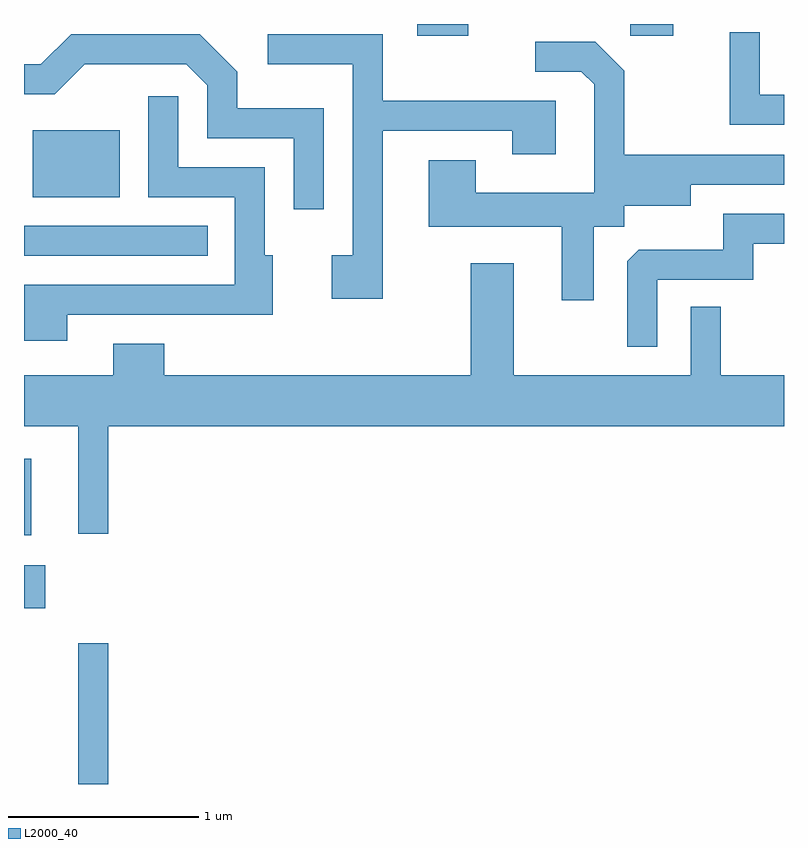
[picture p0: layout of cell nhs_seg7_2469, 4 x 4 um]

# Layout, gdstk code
import gdstk
lib = gdstk.Library(unit=1e-6, precision=1e-09)
def R(c, l, rs):  # rectangles x0, y0, x1, y1
    for r in rs: c.add(gdstk.rectangle(r[:2], r[2:], *l))
def P(c, l, *ps):  # polygons
    for p in ps: c.add(gdstk.Polygon(p, *l))
L2000_40 = (2000, 40)

nhs_seg7_2469 = lib.new_cell('nhs_seg7_2469')
R(nhs_seg7_2469, L2000_40, [(261.896,1670.252,262.054,1670.993), (261.611,1671.176,261.724,1671.404), (261.611,1671.561,261.649,1671.964), (261.611,1673.031,262.578,1673.189), (261.656,1673.341,262.114,1673.694), (263.681,1674.191,263.949,1674.252), (264.801,1674.191,265.029,1674.252)])
P(nhs_seg7_2469, L2000_40, [(265.611,1673.879),(265.484,1673.879),(265.484,1674.208),(265.326,1674.208),(265.326,1673.721),(265.611,1673.721)],
  [(263.499,1673.691),(264.181,1673.691),(264.181,1673.566),(264.409,1673.566),(264.409,1673.849),(263.499,1673.849),(263.499,1674.199),(262.893,1674.199),(262.893,1674.041),(263.341,1674.041),(263.341,1673.034),(263.231,1673.034),(263.231,1672.806),(263.499,1672.806)],
  [(263.189,1673.809),(262.734,1673.809),(262.734,1674.002),(262.537,1674.199),(261.859,1674.199),(261.699,1674.039),(261.611,1674.039),(261.611,1673.881),(261.772,1673.881),(261.932,1674.041),(262.464,1674.041),(262.576,1673.929),(262.576,1673.651),(263.031,1673.651),(263.031,1673.278),(263.189,1673.278)],
  [(264.609,1673.186),(264.769,1673.186),(264.769,1673.296),(265.119,1673.296),(265.119,1673.406),(265.611,1673.406),(265.611,1673.564),(264.769,1673.564),(264.769,1674.007),(264.617,1674.159),(264.303,1674.159),(264.303,1674.001),(264.544,1674.001),(264.611,1673.934),(264.611,1673.364),(263.989,1673.364),(263.989,1673.534),(263.741,1673.534),(263.741,1673.186),(264.441,1673.186),(264.441,1672.798),(264.609,1672.798)],
  [(261.839,1672.721),(262.919,1672.721),(262.919,1673.034),(262.879,1673.034),(262.879,1673.499),(262.424,1673.499),(262.424,1673.873),(262.266,1673.873),(262.266,1673.341),(262.721,1673.341),(262.721,1672.879),(261.611,1672.879),(261.611,1672.586),(261.839,1672.586)],
  [(264.944,1672.906),(265.449,1672.906),(265.449,1673.096),(265.611,1673.096),(265.611,1673.254),(265.291,1673.254),(265.291,1673.064),(264.847,1673.064),(264.786,1673.004),(264.786,1672.553),(264.944,1672.553)],
  [(262.054,1672.136),(265.611,1672.136),(265.611,1672.404),(265.279,1672.404),(265.279,1672.763),(265.121,1672.763),(265.121,1672.404),(264.189,1672.404),(264.189,1672.994),(263.961,1672.994),(263.961,1672.404),(262.349,1672.404),(262.349,1672.569),(262.081,1672.569),(262.081,1672.404),(261.611,1672.404),(261.611,1672.136),(261.896,1672.136),(261.896,1671.568),(262.054,1671.568)])

lib.write_gds('nhs_seg7_2469.gds')
